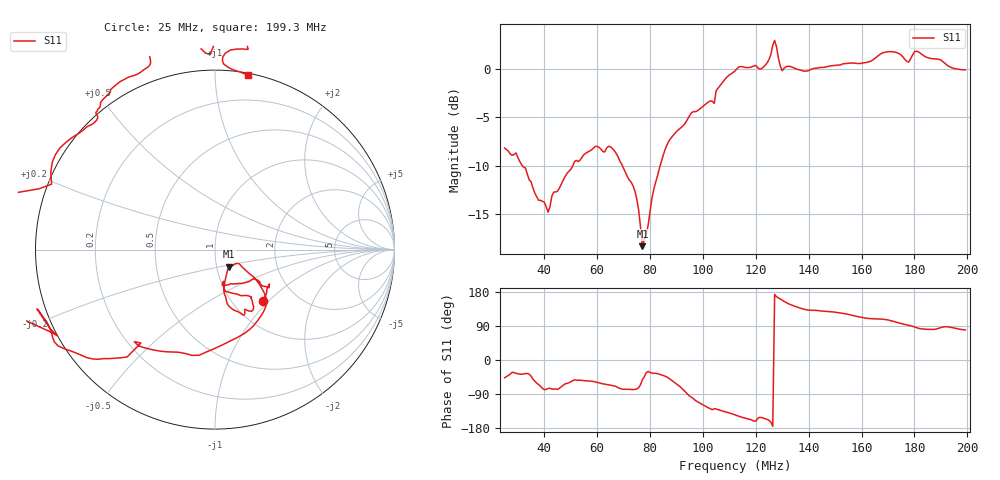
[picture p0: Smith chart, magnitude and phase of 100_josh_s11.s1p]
!Created with skrf (http://scikit-rf.org).
# Hz S RI R 50.0
!freq ReS11 ImS11
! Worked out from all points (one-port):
!   245 points, 25 MHz to 199.3 MHz, reference 50 ohm
!   lowest |S11| = -18.3 dB at 77.14 MHz (marker M1), VSWR 1.28, Z = 57 - j11 ohm
!   |S11| at or under -10 dB: 31.77 MHz to 50.78 MHz (19.01 MHz wide, 46.1 % of centre); 69.57 MHz to 83.83 MHz (14.26 MHz wide, 18.6 % of centre)
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2.5e7  0.2674 -0.2854
2.929e7  0.3016 -0.2121
4.143e7  0.0462 -0.1765
4.714e7  0.105 -0.2449
5.929e7  0.2114 -0.3376
6.929e7  0.0759 -0.3133
7.429e7  0.05 -0.2287
7.714e7  0.0755 -0.0952
8.571e7  0.2821 -0.2605
9.071e7  0.1922 -0.4457
9.571e7  -0.0869 -0.5884
1.1286e8  -0.8374 -0.5531
1.2e8  -0.992 -0.3307
1.2214e8  -0.8849 -0.4754
1.25e8  -1.049 -0.3976
1.2571e8  -1.142 -0.33
1.2714e8  -1.397 0.1699
1.2786e8  -1.272 0.2935
1.3e8  -0.9105 0.3646
1.3429e8  -0.812 0.6125
1.3929e8  -0.6591 0.7221
1.5643e8  -0.5032 0.9498
1.7214e8  -0.2529 1.202
1.7786e8  -0.0277 1.087
1.8071e8  0.0996 1.235
1.8714e8  0.1836 1.116
1.9214e8  0.0413 1.053
1.9929e8  0.1825 0.9753
